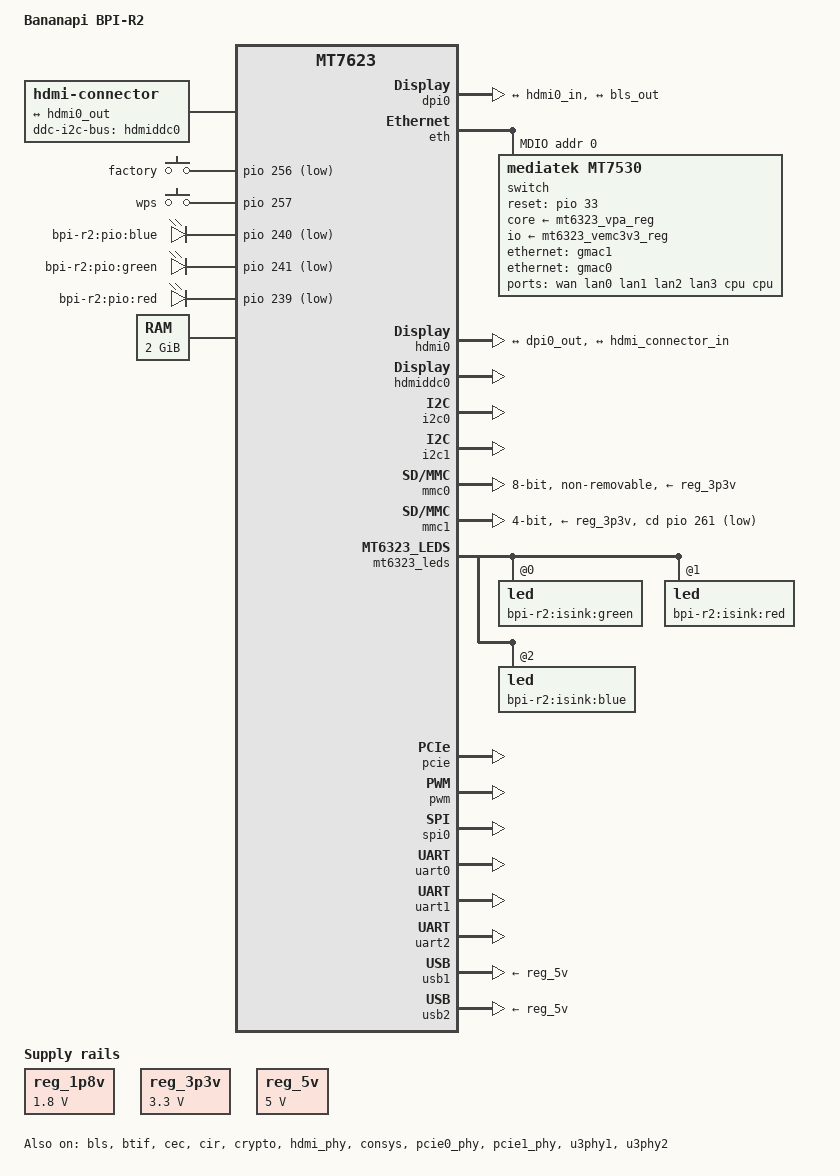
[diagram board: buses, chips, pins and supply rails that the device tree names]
/*
 * Copyright 2017-2018 Sean Wang <sean.wang@mediatek.com>
 *
 * SPDX-License-Identifier: (GPL-2.0+ OR MIT)
 */

/dts-v1/;
#include <dt-bindings/input/input.h>
#include "mt7623.dtsi"
#include "mt6323.dtsi"

/ {
	model = "Bananapi BPI-R2";
	compatible = "bananapi,bpi-r2", "mediatek,mt7623";

	aliases {
		serial2 = &uart2;
		ethernet0 = &gmac0;
		ethernet1 = &gmac1;
	};

	chosen {
		stdout-path = "serial2:115200n8";
	};

	connector {
		compatible = "hdmi-connector";
		label = "hdmi";
		type = "d";
		ddc-i2c-bus = <&hdmiddc0>;

		port {
			hdmi_connector_in: endpoint {
				remote-endpoint = <&hdmi0_out>;
			};
		};
	};

	cpus {
		cpu@0 {
			proc-supply = <&mt6323_vproc_reg>;
		};

		cpu@1 {
			proc-supply = <&mt6323_vproc_reg>;
		};

		cpu@2 {
			proc-supply = <&mt6323_vproc_reg>;
		};

		cpu@3 {
			proc-supply = <&mt6323_vproc_reg>;
		};
	};

	reg_1p8v: regulator-1p8v {
		compatible = "regulator-fixed";
		regulator-name = "fixed-1.8V";
		regulator-min-microvolt = <1800000>;
		regulator-max-microvolt = <1800000>;
		regulator-boot-on;
		regulator-always-on;
	};

	reg_3p3v: regulator-3p3v {
		compatible = "regulator-fixed";
		regulator-name = "fixed-3.3V";
		regulator-min-microvolt = <3300000>;
		regulator-max-microvolt = <3300000>;
		regulator-boot-on;
		regulator-always-on;
	};

	reg_5v: regulator-5v {
		compatible = "regulator-fixed";
		regulator-name = "fixed-5V";
		regulator-min-microvolt = <5000000>;
		regulator-max-microvolt = <5000000>;
		regulator-boot-on;
		regulator-always-on;
	};

	gpio-keys {
		compatible = "gpio-keys";
		pinctrl-names = "default";
		pinctrl-0 = <&key_pins_a>;

		factory {
			label = "factory";
			linux,code = <BTN_0>;
			gpios = <&pio 256 GPIO_ACTIVE_LOW>;
		};

		wps {
			label = "wps";
			linux,code = <KEY_WPS_BUTTON>;
			gpios = <&pio 257 GPIO_ACTIVE_HIGH>;
		};
	};

	reserved-memory {
		#address-cells = <2>;
		#size-cells = <2>;
		ranges;
		consys-reserve-memory {
			compatible = "mediatek,consys-reserve-memory";
			no-map;
			size = <0 0x100000>;
			alignment = <0 0x100000>;
		};
	};

	leds {
		compatible = "gpio-leds";
		pinctrl-names = "default";
		pinctrl-0 = <&led_pins_a>;

		blue {
			label = "bpi-r2:pio:blue";
			gpios = <&pio 240 GPIO_ACTIVE_LOW>;
			default-state = "off";
		};

		green {
			label = "bpi-r2:pio:green";
			gpios = <&pio 241 GPIO_ACTIVE_LOW>;
			default-state = "off";
		};

		red {
			label = "bpi-r2:pio:red";
			gpios = <&pio 239 GPIO_ACTIVE_LOW>;
			default-state = "off";
		};
	};

	memory@80000000 {
		device_type = "memory";
		reg = <0 0x80000000 0 0x80000000>;
	};
};

&bls {
	status = "okay";

	port {
		bls_out: endpoint {
			remote-endpoint = <&dpi0_in>;
		};
	};
};

&btif {
	status = "okay";
};

&cec {
	status = "okay";
};

&cir {
	pinctrl-names = "default";
	pinctrl-0 = <&cir_pins_a>;
	status = "okay";
};

&crypto {
	status = "okay";
};

&dpi0 {
	status = "okay";

	ports {
		#address-cells = <1>;
		#size-cells = <0>;
		port@0 {
			reg = <0>;
			dpi0_out: endpoint {
				remote-endpoint = <&hdmi0_in>;
			};
		};

		port@1 {
			reg = <1>;
			dpi0_in: endpoint {
				remote-endpoint = <&bls_out>;
			};
		};
	};
};

&eth {
	status = "okay";

	gmac0: mac@0 {
		compatible = "mediatek,eth-mac";
		reg = <0>;
		phy-mode = "trgmii";
		mac-address = [02 02 02 02 02 02];

		fixed-link {
			speed = <1000>;
			full-duplex;
			pause;
		};
	};

	gmac1: mac@1 {
		compatible = "mediatek,eth-mac";
		reg = <1>;
		phy-mode = "trgmii";
		mac-address = [02 03 03 03 03 03];

		fixed-link {
			speed = <1000>;
			full-duplex;
			pause;
		};
	};

	mdio: mdio-bus {
		#address-cells = <1>;
		#size-cells = <0>;

		switch@0 {
			compatible = "mediatek,mt7530";
			reg = <0>;
			reset-gpios = <&pio 33 0>;
			core-supply = <&mt6323_vpa_reg>;
			io-supply = <&mt6323_vemc3v3_reg>;

			ports {
				#address-cells = <1>;
				#size-cells = <0>;

				port@0 {
					reg = <0>;
					label = "wan";
					default_cpu = <&cpu_port1>;
				};

				port@1 {
					reg = <1>;
					label = "lan0";
					default_cpu = <&cpu_port0>;
				};

				port@2 {
					reg = <2>;
					label = "lan1";
					default_cpu = <&cpu_port0>;
				};

				port@3 {
					reg = <3>;
					label = "lan2";
					default_cpu = <&cpu_port0>;
				};

				port@4 {
					reg = <4>;
					label = "lan3";
					default_cpu = <&cpu_port0>;
				};

				cpu_port1: port@5 {
					reg = <5>;
					label = "cpu";
					ethernet = <&gmac1>;
					phy-mode = "trgmii";
					fixed-link {
						speed = <1000>;
						full-duplex;
					};
				};
				cpu_port0: port@6 {
					reg = <6>;
					label = "cpu";
					ethernet = <&gmac0>;
					phy-mode = "trgmii";

					fixed-link {
						speed = <1000>;
						full-duplex;
					};
				};
			};
		};
	};
};

&hdmi0 {
	pinctrl-names = "default";
	pinctrl-0 = <&hdmi_pins_a>;
	status = "okay";

	ports {
		#address-cells = <1>;
		#size-cells = <0>;
		port@0 {
			reg = <0>;
			hdmi0_in: endpoint {
				remote-endpoint = <&dpi0_out>;
			};
		};

		port@1 {
			reg = <1>;
			hdmi0_out: endpoint {
				remote-endpoint = <&hdmi_connector_in>;
			};
		};
	};
};

&hdmiddc0 {
	pinctrl-names = "default";
	pinctrl-0 = <&hdmi_ddc_pins_a>;
	status = "okay";
};

&hdmi_phy {
	mediatek,ibias = <0xa>;
	mediatek,ibias_up = <0x1c>;
	status = "okay";
};

&i2c0 {
	pinctrl-names = "default";
	pinctrl-0 = <&i2c0_pins_a>;
	status = "okay";
};

&i2c1 {
	pinctrl-names = "default";
	pinctrl-0 = <&i2c1_pins_a>;
	status = "okay";
};

&mmc0 {
	pinctrl-names = "default", "state_uhs";
	pinctrl-0 = <&mmc0_pins_default>;
	pinctrl-1 = <&mmc0_pins_uhs>;
	status = "okay";
	bus-width = <8>;
	max-frequency = <50000000>;
	cap-mmc-highspeed;
	vmmc-supply = <&reg_3p3v>;
	vqmmc-supply = <&reg_1p8v>;
	non-removable;
};

&mmc1 {
	pinctrl-names = "default", "state_uhs";
	pinctrl-0 = <&mmc1_pins_default>;
	pinctrl-1 = <&mmc1_pins_uhs>;
	status = "okay";
	bus-width = <4>;
	max-frequency = <50000000>;
	cap-sd-highspeed;
	cd-gpios = <&pio 261 GPIO_ACTIVE_LOW>;
	vmmc-supply = <&reg_3p3v>;
	vqmmc-supply = <&reg_3p3v>;
};

&mt6323_leds {
	status = "okay";

	led@0 {
		reg = <0>;
		label = "bpi-r2:isink:green";
		default-state = "off";
	};

	led@1 {
		reg = <1>;
		label = "bpi-r2:isink:red";
		default-state = "off";
	};

	led@2 {
		reg = <2>;
		label = "bpi-r2:isink:blue";
		default-state = "off";
	};
};

&pio {
	consys_pins_default: consys_pins_default {
		adie {
			pinmux = <MT7623_PIN_60_WB_RSTB_FUNC_WB_RSTB>,
				<MT7623_PIN_61_GPIO61_FUNC_TEST_FD>,
				<MT7623_PIN_62_GPIO62_FUNC_TEST_FC>,
				<MT7623_PIN_63_WB_SCLK_FUNC_WB_SCLK>,
				<MT7623_PIN_64_WB_SDATA_FUNC_WB_SDATA>,
				<MT7623_PIN_65_WB_SEN_FUNC_WB_SEN>,
				<MT7623_PIN_66_WB_CRTL0_FUNC_WB_CRTL0>,
				<MT7623_PIN_67_WB_CRTL1_FUNC_WB_CRTL1>,
				<MT7623_PIN_68_WB_CRTL2_FUNC_WB_CRTL2>,
				<MT7623_PIN_69_WB_CRTL3_FUNC_WB_CRTL3>,
				<MT7623_PIN_70_WB_CRTL4_FUNC_WB_CRTL4>,
				<MT7623_PIN_71_WB_CRTL5_FUNC_WB_CRTL5>;
				bias-disable;
		};
	};
};
&consys {
	mediatek,pwrap-regmap = <&pwrap>;
	pinctrl-names = "default";
	pinctrl-0 = <&consys_pins_default>;
	vcn18-supply = <&mt6323_vcn18_reg>;
	vcn28-supply = <&mt6323_vcn28_reg>;
	vcn33_bt-supply = <&mt6323_vcn33_bt_reg>;
	vcn33_wifi-supply = <&mt6323_vcn33_wifi_reg>;
	status = "okay";
};

&pcie {
	pinctrl-names = "default";
	pinctrl-0 = <&pcie_default>;
	status = "okay";

	pcie@0,0 {
		status = "okay";
	};

	pcie@1,0 {
		status = "okay";
	};
};

&pcie0_phy {
	status = "okay";
};

&pcie1_phy {
	status = "okay";
};

&pwm {
	pinctrl-names = "default";
	pinctrl-0 = <&pwm_pins_a>;
	status = "okay";
};

&spi0 {
	pinctrl-names = "default";
	pinctrl-0 = <&spi0_pins_a>;
	status = "okay";
};

&uart0 {
	pinctrl-names = "default";
	pinctrl-0 = <&uart0_pins_a>;
	status = "okay";
};

&uart1 {
	pinctrl-names = "default";
	pinctrl-0 = <&uart1_pins_a>;
	status = "okay";
};

&uart2 {
	pinctrl-names = "default";
	pinctrl-0 = <&uart2_pins_a>;
	status = "okay";
};

&usb1 {
	vusb33-supply = <&reg_3p3v>;
	vbus-supply = <&reg_5v>;
	status = "okay";
};

&usb2 {
	vusb33-supply = <&reg_3p3v>;
	vbus-supply = <&reg_5v>;
	status = "okay";
};

&u3phy1 {
	status = "okay";
};

&u3phy2 {
	status = "okay";
};

